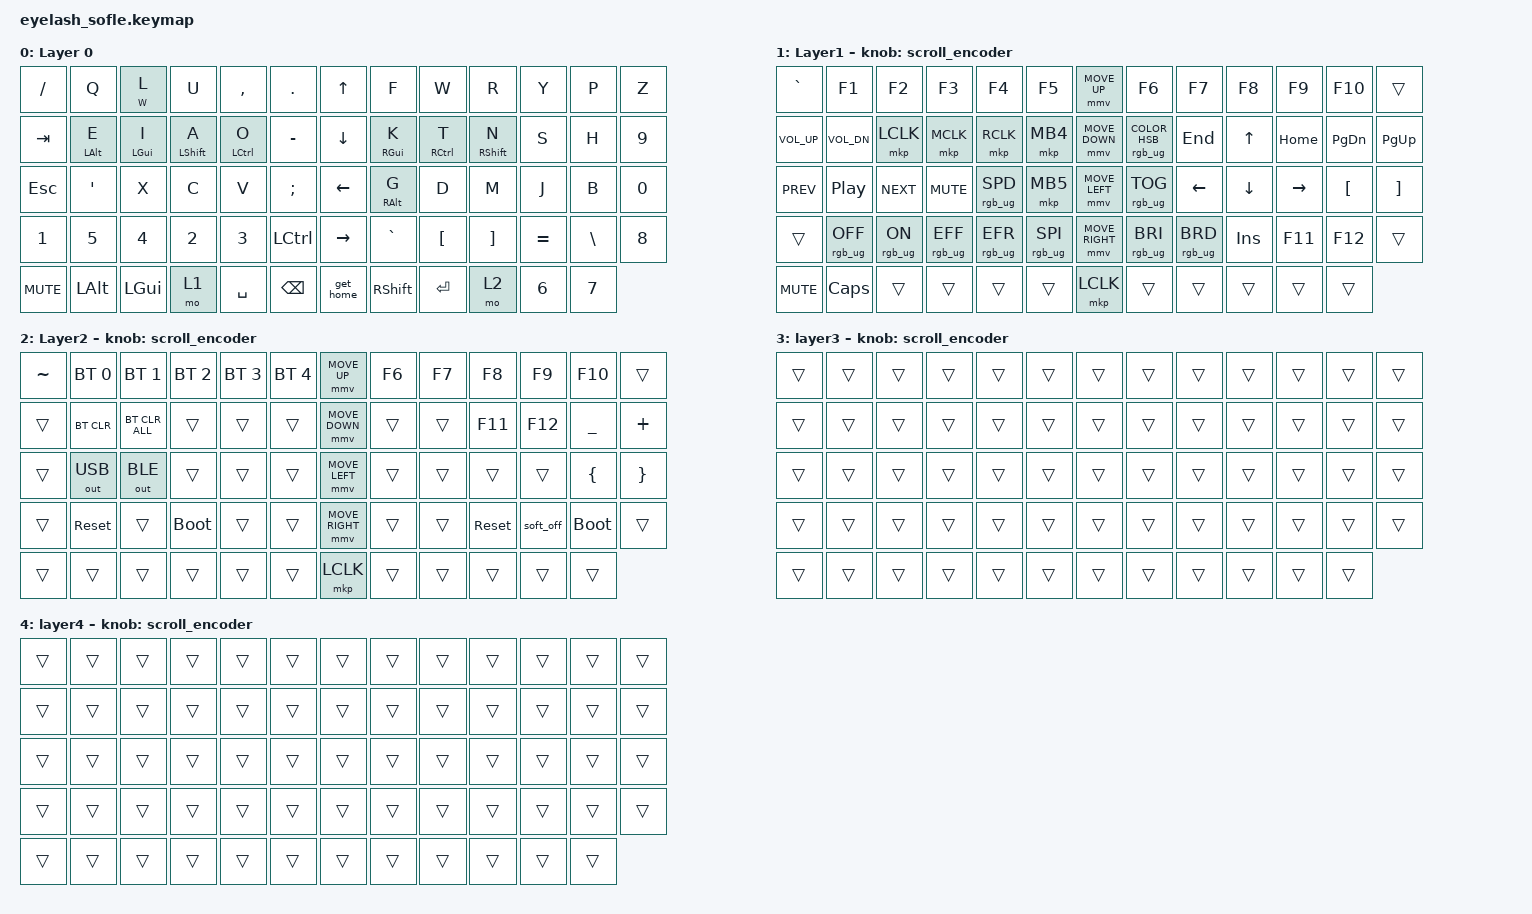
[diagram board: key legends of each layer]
#define ZMK_POINTING_DEFAULT_MOVE_VAL 1200  // 600
#define ZMK_POINTING_DEFAULT_SCRL_VAL 25   // 10

#include <input/processors.dtsi>
#include <zephyr/dt-bindings/input/input-event-codes.h>
#include <behaviors.dtsi>
#include <dt-bindings/zmk/bt.h>
#include <dt-bindings/zmk/keys.h>
#include <dt-bindings/zmk/outputs.h>
#include <dt-bindings/zmk/pointing.h>
#include <dt-bindings/zmk/rgb.h>

&mmv_input_listener { input-processors = <&zip_xy_scaler 2 1>; };

&msc_input_listener { input-processors = <&zip_scroll_scaler 2 1>; };

&msc {
    acceleration-exponent = <1>;      // 0
    time-to-max-speed-ms = <100>;       // 300
    delay-ms = <0>;                   // 0
};

&mmv {
    time-to-max-speed-ms = <500>;
    acceleration-exponent = <1>;
    trigger-period-ms = <16>;
};

&soft_off { hold-time-ms = <2000>; };

&mt {
    tapping-term-ms = <400>;
    flavor = "balanced";
};

/ {
    scroll_encoder: scroll_encoder {
        compatible = "zmk,behavior-sensor-rotate";
        #sensor-binding-cells = <0>;
        bindings = <&msc SCRL_DOWN>, <&msc SCRL_UP>;

        tap-ms = <100>;
    };

    behaviors {
    };

    combos {
        compatible = "zmk,combos";

        softoff {
            bindings = <&soft_off>;
            key-positions = <14 28 40>;
        };
    };

    macros {
        get_home: get_home {
            compatible = "zmk,behavior-macro";
            #binding-cells = <0>;
            bindings =
                <&none>,
                <&macro_press>,
                <&kp LG(H) &kp T &kp E &kp R &kp M &kp U &kp X &kp RET>;

            label = "GET_HOME";
        };
    };

    keymap {
        compatible = "zmk,keymap";

        layer0 {
            bindings = <
&kp FSLH    &kp Q         &mt W L       &kp U         &kp COMMA    &kp DOT          &kp UP_ARROW     &kp F            &kp W             &kp R              &kp Y      &kp P     &kp Z
&kp TAB     &mt LALT E    &mt LGUI I    &mt LSHIFT A  &mt LCTRL O  &kp MINUS        &kp DOWN_ARROW   &mt RGUI K       &mt RCTRL T       &mt RSHIFT N       &kp S      &kp H     &kp N9
&kp ESC     &kp APOS      &kp X         &kp C         &kp V        &kp SEMI         &kp LEFT_ARROW   &mt RALT G       &kp D             &kp M              &kp J      &kp B     &kp N0
&kp N1      &kp N5        &kp N4        &kp N2        &kp N3       &kp LCTRL        &kp RIGHT_ARROW  &kp GRAVE        &kp LEFT_BRACKET  &kp RIGHT_BRACKET  &kp EQUAL  &kp BSLH  &kp N8
&kp C_MUTE  &kp LEFT_ALT  &kp LEFT_GUI  &mo 1         &kp SPACE    &kp BACKSPACE    &get_home        &kp RIGHT_SHIFT  &kp ENTER         &mo 2              &kp N6     &kp N7
            >;

            display-name = "Layer 0";
        };

        layer_1 {
            bindings = <
&kp GRAVE     &kp F1            &kp F2          &kp F3           &kp F4           &kp F5             &mmv MOVE_UP     &kp F6                            &kp F7           &kp F8      &kp F9     &kp F10           &trans
&kp C_VOL_UP  &kp C_VOL_DN      &mkp LCLK       &mkp MCLK        &mkp RCLK        &mkp MB4           &mmv MOVE_DOWN   &rgb_ug RGB_COLOR_HSB(270,43,50)  &kp END          &kp UP      &kp HOME   &kp PAGE_DOWN     &kp PG_UP
&kp C_PREV    &kp C_PLAY_PAUSE  &kp C_NEXT      &kp C_MUTE       &rgb_ug RGB_SPD  &mkp MB5           &mmv MOVE_LEFT   &rgb_ug RGB_TOG                   &kp LEFT         &kp DOWN    &kp RIGHT  &kp LEFT_BRACKET  &kp RIGHT_BRACKET
&trans        &rgb_ug RGB_OFF   &rgb_ug RGB_ON  &rgb_ug RGB_EFF  &rgb_ug RGB_EFR  &rgb_ug RGB_SPI    &mmv MOVE_RIGHT  &rgb_ug RGB_BRI                   &rgb_ug RGB_BRD  &kp INSERT  &kp F11    &kp F12           &trans
&kp C_MUTE    &kp CAPS          &trans          &trans           &trans           &trans             &mkp LCLK        &trans                            &trans           &trans      &trans     &trans
            >;

            display-name = "Layer1";
            sensor-bindings = <&scroll_encoder>;
        };

        layer_2 {
            bindings = <
&kp TILDE  &bt BT_SEL 0  &bt BT_SEL 1    &bt BT_SEL 2  &bt BT_SEL 3  &bt BT_SEL 4    &mmv MOVE_UP     &kp F6  &kp F7  &kp F8      &kp F9     &kp F10      &trans
&trans     &bt BT_CLR    &bt BT_CLR_ALL  &trans        &trans        &trans          &mmv MOVE_DOWN   &trans  &trans  &kp F11     &kp F12    &kp UNDER    &kp PLUS
&trans     &out OUT_USB  &out OUT_BLE    &trans        &trans        &trans          &mmv MOVE_LEFT   &trans  &trans  &trans      &trans     &kp LBRC     &kp RBRC
&trans     &sys_reset    &trans          &bootloader   &trans        &trans          &mmv MOVE_RIGHT  &trans  &trans  &sys_reset  &soft_off  &bootloader  &trans
&trans     &trans        &trans          &trans        &trans        &trans          &mkp LCLK        &trans  &trans  &trans      &trans     &trans
            >;

            display-name = "Layer2";
            sensor-bindings = <&scroll_encoder>;
        };

        layer_3 {
            bindings = <
&trans  &trans  &trans  &trans  &trans  &trans    &trans  &trans  &trans  &trans  &trans  &trans  &trans
&trans  &trans  &trans  &trans  &trans  &trans    &trans  &trans  &trans  &trans  &trans  &trans  &trans
&trans  &trans  &trans  &trans  &trans  &trans    &trans  &trans  &trans  &trans  &trans  &trans  &trans
&trans  &trans  &trans  &trans  &trans  &trans    &trans  &trans  &trans  &trans  &trans  &trans  &trans
&trans  &trans  &trans  &trans  &trans  &trans    &trans  &trans  &trans  &trans  &trans  &trans
            >;

            display-name = "layer3";
            sensor-bindings = <&scroll_encoder>;
        };

        layer_4 {
            bindings = <
&trans  &trans  &trans  &trans  &trans  &trans    &trans  &trans  &trans  &trans  &trans  &trans  &trans
&trans  &trans  &trans  &trans  &trans  &trans    &trans  &trans  &trans  &trans  &trans  &trans  &trans
&trans  &trans  &trans  &trans  &trans  &trans    &trans  &trans  &trans  &trans  &trans  &trans  &trans
&trans  &trans  &trans  &trans  &trans  &trans    &trans  &trans  &trans  &trans  &trans  &trans  &trans
&trans  &trans  &trans  &trans  &trans  &trans    &trans  &trans  &trans  &trans  &trans  &trans
            >;

            display-name = "layer4";
            sensor-bindings = <&scroll_encoder>;
        };
    };
};
